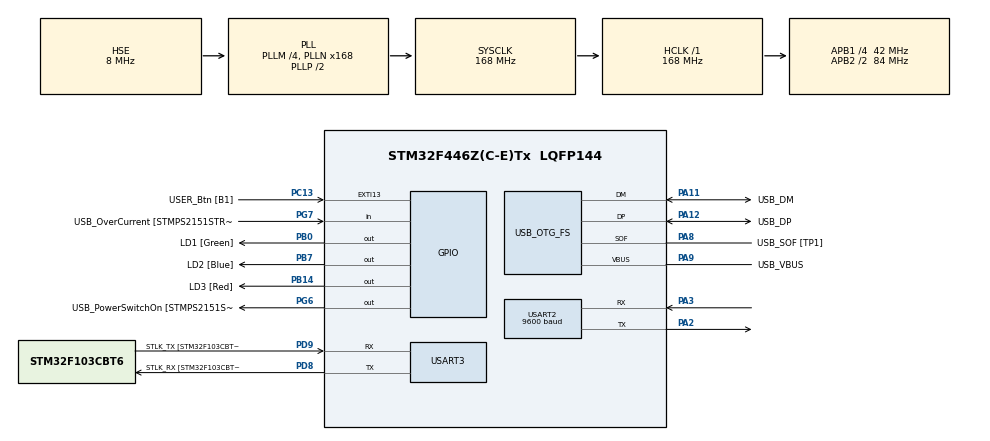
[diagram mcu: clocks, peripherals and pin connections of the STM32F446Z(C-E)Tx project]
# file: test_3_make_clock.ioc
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Mcu.Family=STM32F4
Mcu.Name=STM32F446Z(C-E)Tx
Mcu.Package=LQFP144
NVIC.EXTI15_10_IRQn=true\:0\:0\:false\:false\:true\:true\:true\:true
NVIC.PriorityGroup=NVIC_PRIORITYGROUP_4
NVIC.TIM6_DAC_IRQn=true\:0\:0\:false\:false\:true\:true\:true\:true
NVIC.USART2_IRQn=true\:0\:0\:false\:false\:true\:true\:true\:true
PA10.GPIO_Label=USB_ID
PA10.Signal=USB_OTG_FS_ID
PA11.GPIO_Label=USB_DM
PA11.Mode=Device_Only
PA11.Signal=USB_OTG_FS_DM
PA12.GPIO_Label=USB_DP
PA12.Mode=Device_Only
PA12.Signal=USB_OTG_FS_DP
PA13.GPIO_Label=TMS
PA13.Mode=Serial_Wire
PA13.Signal=SYS_JTMS-SWDIO
PA14.GPIO_Label=TCK
PA14.Mode=Serial_Wire
PA14.Signal=SYS_JTCK-SWCLK
PA2.Mode=Asynchronous
PA2.Signal=USART2_TX
PA3.Mode=Asynchronous
PA3.Signal=USART2_RX
PA8.GPIO_Label=USB_SOF [TP1]
PA8.Mode=Activate_SOF_FS
PA8.Signal=USB_OTG_FS_SOF
PA9.GPIO_Label=USB_VBUS
PA9.Mode=Activate_VBUS
PA9.Signal=USB_OTG_FS_VBUS
PB0.GPIO_Label=LD1 [Green]
PB0.Signal=GPIO_Output
PB14.GPIO_Label=LD3 [Red]
PB14.Signal=GPIO_Output
PB7.GPIO_Label=LD2 [Blue]
PB7.Signal=GPIO_Output
PC13.GPIO_Label=USER_Btn [B1]
PC13.Signal=GPXTI13
PC14-OSC32_IN.Mode=LSE-External-Oscillator
PC14-OSC32_IN.Signal=RCC_OSC32_IN
PC15-OSC32_OUT.Mode=LSE-External-Oscillator
PC15-OSC32_OUT.Signal=RCC_OSC32_OUT
PD8.GPIO_Label=STLK_RX [STM32F103CBT6_PA3]
PD8.Mode=Asynchronous
PD8.Signal=USART3_TX
PD9.GPIO_Label=STLK_TX [STM32F103CBT6_PA2]
PD9.Mode=Asynchronous
PD9.Signal=USART3_RX
PG6.GPIO_Label=USB_PowerSwitchOn [STMPS2151STR_EN]
PG6.Signal=GPIO_Output
PG7.GPIO_Label=USB_OverCurrent [STMPS2151STR_FAULT]
PG7.Signal=GPIO_Input
PH0-OSC_IN.GPIO_Label=MCO [STM32F103CBT6_PA8]
PH0-OSC_IN.Mode=HSE-External-Clock-Source
PH0-OSC_IN.Signal=RCC_OSC_IN
PH1-OSC_OUT.Mode=HSE-External-Clock-Source
PH1-OSC_OUT.Signal=RCC_OSC_OUT
ProjectManager.HeapSize=0x200
ProjectManager.StackSize=0x400
ProjectManager.TargetToolchain=STM32CubeIDE
RCC.48MHZClocksFreq_Value=24000000
RCC.AHBFreq_Value=168000000
RCC.APB1CLKDivider=RCC_HCLK_DIV4
RCC.APB1Freq_Value=42000000
RCC.APB1TimFreq_Value=84000000
RCC.APB2CLKDivider=RCC_HCLK_DIV2
RCC.APB2Freq_Value=84000000
RCC.APB2TimFreq_Value=168000000
RCC.CortexFreq_Value=168000000
RCC.HCLKFreq_Value=168000000
RCC.HSE_VALUE=8000000
RCC.HSI_VALUE=16000000
RCC.PLLM=4
RCC.PLLMUL=RCC_PLL_MUL9
RCC.PLLN=168
RCC.PLLQ=7
RCC.PRESCALERUSB=RCC_USBCLKSOURCE_PLL_DIV1_5
RCC.SYSCLKFreq_VALUE=168000000
RCC.SYSCLKSource=RCC_SYSCLKSOURCE_PLLCLK
RCC.SYSCLKSourceVirtual=RCC_SYSCLKSOURCE_PLLCLK
RCC.USBFreq_Value=48000000
RCC.VCOOutputFreq_Value=336000000
TIM6.Period=1000-1
TIM6.Prescaler=84-1
USART2.BaudRate=9600
USART2.VirtualMode=VM_ASYNC
USART3.VirtualMode=VM_ASYNC
USB_OTG_FS.VirtualMode=Device_Only
VP_TIM6_VS_ClockSourceINT.Mode=Enable_Timer
board=NUCLEO-F446ZE

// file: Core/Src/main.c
/* USER CODE BEGIN Header */
/**
  ******************************************************************************
  * @file           : main.c
  * @brief          : Main program body
  ******************************************************************************
  * @attention
  *
  * Copyright (c) 2024 STMicroelectronics.
  * All rights reserved.
  *
  * This software is licensed under terms that can be found in the LICENSE file
  * in the root directory of this software component.
  * If no LICENSE file comes with this software, it is provided AS-IS.
  *
  ******************************************************************************
  */
/* USER CODE END Header */
#include "main.h"

TIM_HandleTypeDef htim6;

UART_HandleTypeDef huart2;
UART_HandleTypeDef huart3;

PCD_HandleTypeDef hpcd_USB_OTG_FS;

/* USER CODE BEGIN PV */
uint8_t txdata[30] = "test";
int h, m, s, ms;
/* USER CODE END PV */

void SystemClock_Config(void);
static void MX_GPIO_Init(void);
static void MX_USART3_UART_Init(void);
static void MX_USB_OTG_FS_PCD_Init(void);
static void MX_USART2_UART_Init(void);
static void MX_TIM6_Init(void);

int main(void)
{

  /* MCU Configuration--------------------------------------------------------*/

  /* Reset of all peripherals, Initializes the Flash interface and the Systick. */
  HAL_Init();

  /* Configure the system clock */
  SystemClock_Config();

  /* Initialize all configured peripherals */
  MX_GPIO_Init();
  MX_USART3_UART_Init();
  MX_USB_OTG_FS_PCD_Init();
  MX_USART2_UART_Init();
  MX_TIM6_Init();
  /* USER CODE BEGIN 2 */
  __HAL_UART_ENABLE_IT(&huart2,UART_IT_RXNE);
  //__HAL_UART_ENABLE_IT(&huart2,UART_IT_TC);
  HAL_TIM_Base_Start_IT(&htim6);

  /* USER CODE END 2 */

  /* Infinite loop */
  while (1)
  {

    /* USER CODE BEGIN 3 */
  	HAL_GPIO_WritePin(LD1_GPIO_Port, LD1_Pin, GPIO_PIN_SET);
  }
  /* USER CODE END 3 */
}

void SystemClock_Config(void)
{
  RCC_OscInitTypeDef RCC_OscInitStruct = {0};
  RCC_ClkInitTypeDef RCC_ClkInitStruct = {0};

  /** Configure the main internal regulator output voltage
  */
  __HAL_RCC_PWR_CLK_ENABLE();
  __HAL_PWR_VOLTAGESCALING_CONFIG(PWR_REGULATOR_VOLTAGE_SCALE1);

  /** Initializes the RCC Oscillators according to the specified parameters
  * in the RCC_OscInitTypeDef structure.
  */
  RCC_OscInitStruct.OscillatorType = RCC_OSCILLATORTYPE_HSE;
  RCC_OscInitStruct.HSEState = RCC_HSE_BYPASS;
  RCC_OscInitStruct.PLL.PLLState = RCC_PLL_ON;
  RCC_OscInitStruct.PLL.PLLSource = RCC_PLLSOURCE_HSE;
  RCC_OscInitStruct.PLL.PLLM = 4;
  RCC_OscInitStruct.PLL.PLLN = 168;
  RCC_OscInitStruct.PLL.PLLP = RCC_PLLP_DIV2;
  RCC_OscInitStruct.PLL.PLLQ = 7;
  RCC_OscInitStruct.PLL.PLLR = 2;
  if (HAL_RCC_OscConfig(&RCC_OscInitStruct) != HAL_OK)
  {
    Error_Handler();
  }

  /** Initializes the CPU, AHB and APB buses clocks
  */
  RCC_ClkInitStruct.ClockType = RCC_CLOCKTYPE_HCLK|RCC_CLOCKTYPE_SYSCLK
                              |RCC_CLOCKTYPE_PCLK1|RCC_CLOCKTYPE_PCLK2;
  RCC_ClkInitStruct.SYSCLKSource = RCC_SYSCLKSOURCE_PLLCLK;
  RCC_ClkInitStruct.AHBCLKDivider = RCC_SYSCLK_DIV1;
  RCC_ClkInitStruct.APB1CLKDivider = RCC_HCLK_DIV4;
  RCC_ClkInitStruct.APB2CLKDivider = RCC_HCLK_DIV2;

  if (HAL_RCC_ClockConfig(&RCC_ClkInitStruct, FLASH_LATENCY_5) != HAL_OK)
  {
    Error_Handler();
  }
}

static void MX_TIM6_Init(void)
{

  TIM_MasterConfigTypeDef sMasterConfig = {0};

  htim6.Instance = TIM6;
  htim6.Init.Prescaler = 84-1;
  htim6.Init.CounterMode = TIM_COUNTERMODE_UP;
  htim6.Init.Period = 1000-1;
  htim6.Init.AutoReloadPreload = TIM_AUTORELOAD_PRELOAD_DISABLE;
  if (HAL_TIM_Base_Init(&htim6) != HAL_OK)
  {
    Error_Handler();
  }
  sMasterConfig.MasterOutputTrigger = TIM_TRGO_RESET;
  sMasterConfig.MasterSlaveMode = TIM_MASTERSLAVEMODE_DISABLE;
  if (HAL_TIMEx_MasterConfigSynchronization(&htim6, &sMasterConfig) != HAL_OK)
  {
    Error_Handler();
  }

}

static void MX_USART2_UART_Init(void)
{

  huart2.Instance = USART2;
  huart2.Init.BaudRate = 9600;
  huart2.Init.WordLength = UART_WORDLENGTH_8B;
  huart2.Init.StopBits = UART_STOPBITS_1;
  huart2.Init.Parity = UART_PARITY_NONE;
  huart2.Init.Mode = UART_MODE_TX_RX;
  huart2.Init.HwFlowCtl = UART_HWCONTROL_NONE;
  huart2.Init.OverSampling = UART_OVERSAMPLING_16;
  if (HAL_UART_Init(&huart2) != HAL_OK)
  {
    Error_Handler();
  }

}

static void MX_USART3_UART_Init(void)
{

  huart3.Instance = USART3;
  huart3.Init.BaudRate = 115200;
  huart3.Init.WordLength = UART_WORDLENGTH_8B;
  huart3.Init.StopBits = UART_STOPBITS_1;
  huart3.Init.Parity = UART_PARITY_NONE;
  huart3.Init.Mode = UART_MODE_TX_RX;
  huart3.Init.HwFlowCtl = UART_HWCONTROL_NONE;
  huart3.Init.OverSampling = UART_OVERSAMPLING_16;
  if (HAL_UART_Init(&huart3) != HAL_OK)
  {
    Error_Handler();
  }

}

static void MX_USB_OTG_FS_PCD_Init(void)
{

  hpcd_USB_OTG_FS.Instance = USB_OTG_FS;
  hpcd_USB_OTG_FS.Init.dev_endpoints = 6;
  hpcd_USB_OTG_FS.Init.speed = PCD_SPEED_FULL;
  hpcd_USB_OTG_FS.Init.dma_enable = DISABLE;
  hpcd_USB_OTG_FS.Init.phy_itface = PCD_PHY_EMBEDDED;
  hpcd_USB_OTG_FS.Init.Sof_enable = ENABLE;
  hpcd_USB_OTG_FS.Init.low_power_enable = DISABLE;
  hpcd_USB_OTG_FS.Init.lpm_enable = DISABLE;
  hpcd_USB_OTG_FS.Init.vbus_sensing_enable = ENABLE;
  hpcd_USB_OTG_FS.Init.use_dedicated_ep1 = DISABLE;
  if (HAL_PCD_Init(&hpcd_USB_OTG_FS) != HAL_OK)
  {
    Error_Handler();
  }

}

static void MX_GPIO_Init(void)
{
  GPIO_InitTypeDef GPIO_InitStruct = {0};

  /* GPIO Ports Clock Enable */
  __HAL_RCC_GPIOC_CLK_ENABLE();
  __HAL_RCC_GPIOH_CLK_ENABLE();
  __HAL_RCC_GPIOA_CLK_ENABLE();
  __HAL_RCC_GPIOB_CLK_ENABLE();
  __HAL_RCC_GPIOD_CLK_ENABLE();
  __HAL_RCC_GPIOG_CLK_ENABLE();

  /*Configure GPIO pin Output Level */
  HAL_GPIO_WritePin(GPIOB, LD1_Pin|LD3_Pin|LD2_Pin, GPIO_PIN_RESET);

  /*Configure GPIO pin Output Level */
  HAL_GPIO_WritePin(USB_PowerSwitchOn_GPIO_Port, USB_PowerSwitchOn_Pin, GPIO_PIN_RESET);

  /*Configure GPIO pin : USER_Btn_Pin */
  GPIO_InitStruct.Pin = USER_Btn_Pin;
  GPIO_InitStruct.Mode = GPIO_MODE_IT_RISING;
  GPIO_InitStruct.Pull = GPIO_NOPULL;
  HAL_GPIO_Init(USER_Btn_GPIO_Port, &GPIO_InitStruct);

  /*Configure GPIO pins : LD1_Pin LD3_Pin LD2_Pin */
  GPIO_InitStruct.Pin = LD1_Pin|LD3_Pin|LD2_Pin;
  GPIO_InitStruct.Mode = GPIO_MODE_OUTPUT_PP;
  GPIO_InitStruct.Pull = GPIO_NOPULL;
  GPIO_InitStruct.Speed = GPIO_SPEED_FREQ_LOW;
  HAL_GPIO_Init(GPIOB, &GPIO_InitStruct);

  /*Configure GPIO pin : USB_PowerSwitchOn_Pin */
  GPIO_InitStruct.Pin = USB_PowerSwitchOn_Pin;
  GPIO_InitStruct.Mode = GPIO_MODE_OUTPUT_PP;
  GPIO_InitStruct.Pull = GPIO_NOPULL;
  GPIO_InitStruct.Speed = GPIO_SPEED_FREQ_LOW;
  HAL_GPIO_Init(USB_PowerSwitchOn_GPIO_Port, &GPIO_InitStruct);

  /*Configure GPIO pin : USB_OverCurrent_Pin */
  GPIO_InitStruct.Pin = USB_OverCurrent_Pin;
  GPIO_InitStruct.Mode = GPIO_MODE_INPUT;
  GPIO_InitStruct.Pull = GPIO_NOPULL;
  HAL_GPIO_Init(USB_OverCurrent_GPIO_Port, &GPIO_InitStruct);

  /* EXTI interrupt init*/
  HAL_NVIC_SetPriority(EXTI15_10_IRQn, 0, 0);
  HAL_NVIC_EnableIRQ(EXTI15_10_IRQn);

}

/* USER CODE BEGIN 4 */
void HAL_GPIO_EXTI_Callback(uint16_t GPIO_Pin)
{
	if (GPIO_Pin == USER_Btn_Pin)
	{
		uint8_t str[] = "button\r\n";
		HAL_UART_Transmit(&huart2, str, sizeof(str), 100);
		HAL_GPIO_TogglePin(LD3_GPIO_Port, LD3_Pin);
	}
}
void HAL_TIM_PeriodElapsedCallback(TIM_HandleTypeDef *htim)
{
	ms++;
	if (ms==1000)
	{
		ms=0;
		s++;
		if (s==60)
		{
			s=0;
			m++;
			if (m==60)
			{
				m=0;
				h++;
			}
		}
	}
}
/* USER CODE END 4 */

void Error_Handler(void)
{
  __disable_irq();
  while (1)
  {
  }
}
